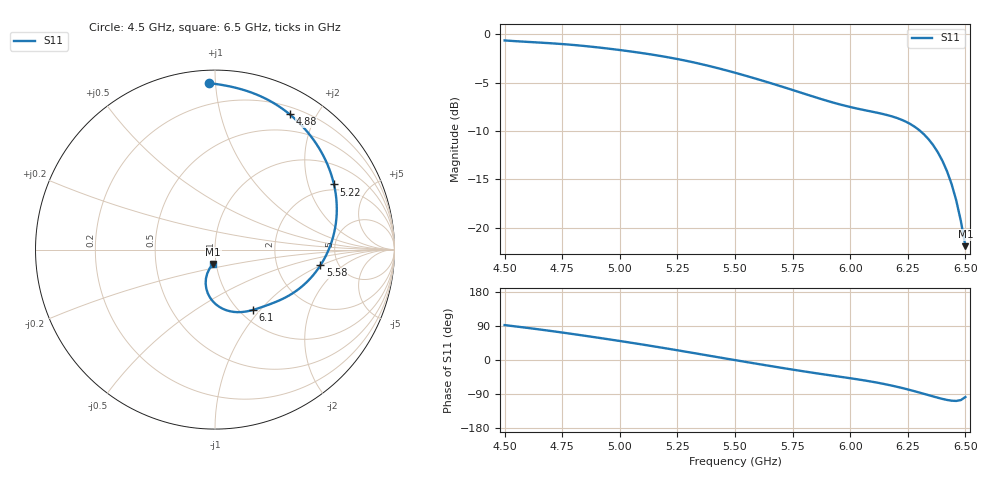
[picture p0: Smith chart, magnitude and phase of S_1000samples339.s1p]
! TOUCHSTONE file generated by CST MICROWAVE STUDIO
! Date and time: Thu Oct 27 20:07:40 2022
! Project name: L.cst
! Parameters = {Di=1.27; Epsilon_r=1.56; InnerDiameter=1.27; Length=2; Lf=10; Lg=60; OuterConductorThickness=0.2921; OuterDiameter=3.6; Wf=3; Wp=41.2; de=1.5; df=6.8; g=0.8; gx=1.98751; gy=4.43706; h=2.34; hf=1.524; px=12.0305; py=12.4583; w=9.7; wx=10.043; wy=8.02122}
! Header version: 2018
! Port assignment regex: !\s*Touchstone port\s*([0-9]+)\s*=\s*(CST MWS port|CST DS port)\s*([0-9]+|Zmin|Zmax)\s*\(\"(.*)\"\)(\s*mode\s*([0-9]+))?.*
! Touchstone port assignment:
! Touchstone port 1 = CST MWS port 1 ("")
# GHz S DB R 50
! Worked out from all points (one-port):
!   101 points, 4.5 GHz to 6.5 GHz, reference 50 ohm
!   lowest |S11| = -21.9 dB at 6.5 GHz (marker M1), VSWR 1.17, Z = 48.3 - j7.76 ohm
!   |S11| at or under -10 dB: 6.304 GHz to end of sweep
!   S11 on the Smith chart (normalised r, x): 4.5 GHz: 0.07, +0.96; 4.88 GHz: 0.28, +1.66; 5.22 GHz: 1.75, +2.96; 5.58 GHz: 3.64, -0.98; 6.1 GHz: 1.15, -0.91; 6.5 GHz: 0.97, -0.16
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4.5  -0.65 92.2
4.64  -0.85 81.5
4.76  -1.04 71.6
4.88  -1.30 61.1
5  -1.64 50.2
5.12  -2.03 38.7
5.22  -2.43 28.7
5.26  -2.61 24.6
5.32  -2.91 18.4
5.38  -3.24 12.2
5.5  -3.98 -0.3
5.58  -4.52 -8.4
5.68  -5.24 -18.5
5.76  -5.84 -26.3
5.86  -6.59 -35.6
6  -7.52 -48.1
6.1  -8.03 -57.9
6.2  -8.63 -70.2
6.26  -9.26 -79.3
6.3  -9.91 -85.8
6.34  -10.84 -92.7
6.38  -12.18 -99.5
6.4  -13.06 -102.6
6.42  -14.14 -105.4
6.44  -15.47 -107.4
6.46  -17.14 -108.0
6.48  -19.25 -105.9
6.5  -21.89 -97.7
